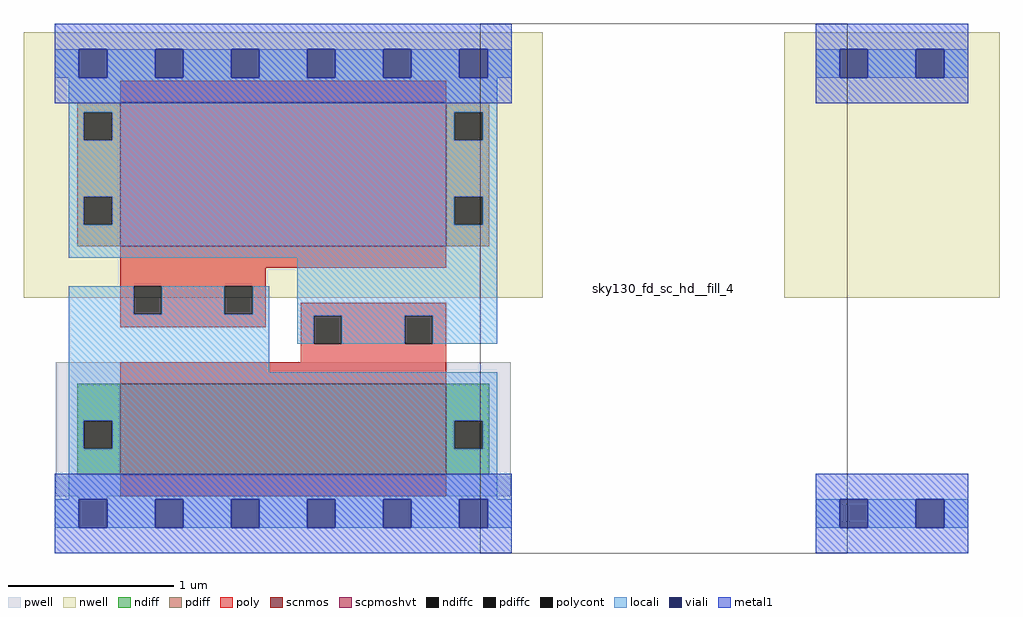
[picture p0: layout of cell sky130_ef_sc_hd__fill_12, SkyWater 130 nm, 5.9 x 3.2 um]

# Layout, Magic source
magic
tech sky130A
use sky130_fd_sc_hd__decap_6  sky130_fd_sc_hd__decap_6_0
transform 1 0 0 0 1 0
box -19 -24 295 296
use sky130_fd_sc_hd__fill_2  sky130_fd_sc_hd__fill_2_0
transform 1 0 460 0 1 0
box -19 -24 111 296
use sky130_fd_sc_hd__fill_4  sky130_fd_sc_hd__fill_4_0
transform 1 0 276 0 1 0
box -19 -24 203 296
<< properties >>
string LEFsite unithd
string LEFclass CORE
string FIXED_BBOX 0 0 552 272
string GDS_FILE $PDKPATH/libs.ref/sky130_fd_sc_hd/gds/sky130_ef_sc_hd__fill_12.gds
string LEFsymmetry X Y R90
string GDS_END 368
string GDS_START 138
<< end >>

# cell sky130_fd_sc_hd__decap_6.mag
magic
tech sky130A
magscale 1 2
<< nwell >>
rect -38 261 590 582
<< pwell >>
rect 1 21 551 183
rect 29 -17 63 21
<< scnmos >>
rect 79 47 473 157
<< scpmoshvt >>
rect 79 323 473 497
<< ndiff >>
rect 27 112 79 157
rect 27 78 35 112
rect 69 78 79 112
rect 27 47 79 78
rect 473 112 525 157
rect 473 78 483 112
rect 517 78 525 112
rect 473 47 525 78
<< pdiff >>
rect 27 485 79 497
rect 27 451 35 485
rect 69 451 79 485
rect 27 383 79 451
rect 27 349 35 383
rect 69 349 79 383
rect 27 323 79 349
rect 473 485 525 497
rect 473 451 483 485
rect 517 451 525 485
rect 473 383 525 451
rect 473 349 483 383
rect 517 349 525 383
rect 473 323 525 349
<< ndiffc >>
rect 35 78 69 112
rect 483 78 517 112
<< pdiffc >>
rect 35 451 69 485
rect 35 349 69 383
rect 483 451 517 485
rect 483 349 517 383
<< poly >>
rect 79 497 473 523
rect 79 297 473 323
rect 79 275 255 297
rect 79 241 95 275
rect 129 241 205 275
rect 239 241 255 275
rect 79 225 255 241
rect 297 239 473 255
rect 297 205 313 239
rect 347 205 423 239
rect 457 205 473 239
rect 297 183 473 205
rect 79 157 473 183
rect 79 21 473 47
<< polycont >>
rect 95 241 129 275
rect 205 241 239 275
rect 313 205 347 239
rect 423 205 457 239
<< locali >>
rect 0 527 29 561
rect 63 527 121 561
rect 155 527 213 561
rect 247 527 305 561
rect 339 527 397 561
rect 431 527 489 561
rect 523 527 552 561
rect 17 485 535 527
rect 17 451 35 485
rect 69 451 483 485
rect 517 451 535 485
rect 17 383 535 451
rect 17 349 35 383
rect 69 349 483 383
rect 517 349 535 383
rect 17 309 535 349
rect 17 241 95 275
rect 129 241 205 275
rect 239 241 259 275
rect 17 171 259 241
rect 293 239 535 309
rect 293 205 313 239
rect 347 205 423 239
rect 457 205 535 239
rect 17 112 535 171
rect 17 78 35 112
rect 69 78 483 112
rect 517 78 535 112
rect 17 17 535 78
rect 0 -17 29 17
rect 63 -17 121 17
rect 155 -17 213 17
rect 247 -17 305 17
rect 339 -17 397 17
rect 431 -17 489 17
rect 523 -17 552 17
<< viali >>
rect 29 527 63 561
rect 121 527 155 561
rect 213 527 247 561
rect 305 527 339 561
rect 397 527 431 561
rect 489 527 523 561
rect 29 -17 63 17
rect 121 -17 155 17
rect 213 -17 247 17
rect 305 -17 339 17
rect 397 -17 431 17
rect 489 -17 523 17
<< metal1 >>
rect 0 561 552 592
rect 0 527 29 561
rect 63 527 121 561
rect 155 527 213 561
rect 247 527 305 561
rect 339 527 397 561
rect 431 527 489 561
rect 523 527 552 561
rect 0 496 552 527
rect 0 17 552 48
rect 0 -17 29 17
rect 63 -17 121 17
rect 155 -17 213 17
rect 247 -17 305 17
rect 339 -17 397 17
rect 431 -17 489 17
rect 523 -17 552 17
rect 0 -48 552 -17
<< labels >>
flabel metal1 s 29 527 63 561 0 FreeSans 200 0 0 0 VPWR
port 4 nsew power bidirectional abutment
flabel metal1 s 29 -17 63 17 0 FreeSans 200 0 0 0 VGND
port 1 nsew ground bidirectional abutment
flabel nwell s 29 527 63 561 0 FreeSans 200 0 0 0 VPB
port 3 nsew power bidirectional
flabel pwell s 29 -17 63 17 0 FreeSans 200 0 0 0 VNB
port 2 nsew ground bidirectional
rlabel comment s 0 0 0 0 4 decap_6
<< properties >>
string LEFsite unithd
string LEFclass CORE
string FIXED_BBOX 0 0 552 544
string GDS_FILE $PDKPATH/libs.ref/sky130_fd_sc_hd/gds/sky130_fd_sc_hd.gds
string LEFsymmetry X Y R90
string GDS_END 2969270
string GDS_START 2966184
string path 0.000 0.000 13.800 0.000 
<< end >>

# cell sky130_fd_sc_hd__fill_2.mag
magic
tech sky130A
magscale 1 2
<< nwell >>
rect -38 261 222 582
<< pwell >>
rect 31 -10 63 12
<< locali >>
rect 0 527 29 561
rect 63 527 121 561
rect 155 527 184 561
rect 0 -17 29 17
rect 63 -17 121 17
rect 155 -17 184 17
<< viali >>
rect 29 527 63 561
rect 121 527 155 561
rect 29 -17 63 17
rect 121 -17 155 17
<< metal1 >>
rect 0 561 184 592
rect 0 527 29 561
rect 63 527 121 561
rect 155 527 184 561
rect 0 496 184 527
rect 0 17 184 48
rect 0 -17 29 17
rect 63 -17 121 17
rect 155 -17 184 17
rect 0 -48 184 -17
<< labels >>
flabel metal1 s 20 -14 73 18 0 FreeSans 200 0 0 0 VGND
port 1 nsew ground bidirectional abutment
flabel metal1 s 21 530 73 561 0 FreeSans 200 0 0 0 VPWR
port 4 nsew power bidirectional abutment
flabel nwell s 28 535 62 553 0 FreeSans 200 0 0 0 VPB
port 3 nsew power bidirectional
flabel pwell s 31 -10 63 12 0 FreeSans 200 0 0 0 VNB
port 2 nsew ground bidirectional
rlabel comment s 0 0 0 0 4 fill_2
<< properties >>
string LEFsite unithd
string LEFclass CORE SPACER
string FIXED_BBOX 0 0 184 544
string GDS_FILE $PDKPATH/libs.ref/sky130_fd_sc_hd/gds/sky130_fd_sc_hd.gds
string LEFsymmetry X Y R90
string GDS_END 3300988
string GDS_START 3299632
string path 0.000 0.000 4.600 0.000 
<< end >>
